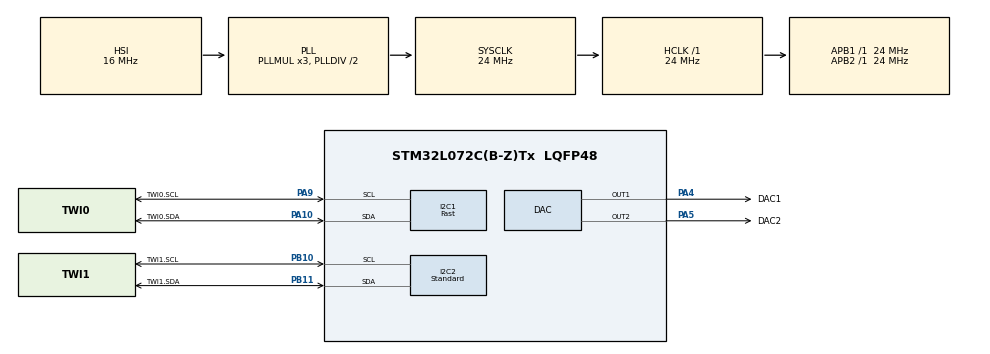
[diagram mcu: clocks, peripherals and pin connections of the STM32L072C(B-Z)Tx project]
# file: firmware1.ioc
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I2C1.I2C_Speed_Mode=I2C_Fast
I2C1.Timing=0x00300617
I2C2.I2C_Speed_Mode=I2C_Standard
I2C2.OwnAddress=0x12
I2C2.Timing=0x00805C87
Mcu.Family=STM32L0
Mcu.Name=STM32L072C(B-Z)Tx
Mcu.Package=LQFP48
NVIC.I2C1_IRQn=true\:0\:0\:false\:false\:true\:true\:true\:true
NVIC.I2C2_IRQn=true\:0\:0\:false\:false\:true\:true\:true\:true
NVIC.TIM2_IRQn=true\:0\:0\:false\:false\:true\:true\:true\:true
PA10.GPIO_Label=TWI0.SDA
PA10.Mode=I2C
PA10.Signal=I2C1_SDA
PA4.GPIO_Label=DAC1
PA4.Signal=COMP_DAC1_group
PA5.GPIO_Label=DAC2
PA5.Signal=COMP_DAC2_group
PA9.GPIO_Label=TWI0.SCL
PA9.Mode=I2C
PA9.Signal=I2C1_SCL
PB10.GPIO_Label=TWI1.SCL
PB10.Mode=I2C
PB10.Signal=I2C2_SCL
PB11.GPIO_Label=TWI1.SDA
PB11.Mode=I2C
PB11.Signal=I2C2_SDA
PH0-OSC_IN.Mode=HSE-External-Oscillator
PH0-OSC_IN.Signal=RCC_OSC_IN
PH1-OSC_OUT.Mode=HSE-External-Oscillator
PH1-OSC_OUT.Signal=RCC_OSC_OUT
ProjectManager.HeapSize=0x200
ProjectManager.StackSize=0x400
ProjectManager.TargetToolchain=STM32CubeIDE
RCC.AHBFreq_Value=24000000
RCC.APB1Freq_Value=24000000
RCC.APB1TimFreq_Value=24000000
RCC.APB2Freq_Value=24000000
RCC.APB2TimFreq_Value=24000000
RCC.HCLKFreq_Value=24000000
RCC.HSE_VALUE=8000000
RCC.HSI16_VALUE=16000000
RCC.HSI48_VALUE=48000000
RCC.HSI_VALUE=16000000
RCC.I2c1ClockSelection=RCC_I2C1CLKSOURCE_HSI
RCC.LSE_VALUE=32768
RCC.MSI_VALUE=2097000
RCC.SYSCLKFreq_VALUE=24000000
RCC.SYSCLKSource=RCC_SYSCLKSOURCE_PLLCLK
RCC.VCOOutputFreq_Value=48000000
SH.COMP_DAC1_group.0=DAC_OUT1,DAC_OUT1
SH.COMP_DAC2_group.0=DAC_OUT2,DAC_OUT2
TIM2.AutoReloadPreload=TIM_AUTORELOAD_PRELOAD_ENABLE
TIM2.Period=1
TIM2.Prescaler=23999
VP_TIM2_VS_ClockSourceINT.Mode=Internal
board=custom

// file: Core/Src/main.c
/* USER CODE BEGIN Header */
/**
  ******************************************************************************
  * @file           : main.c
  * @brief          : Main program body
  ******************************************************************************
  * @attention
  *
  * Copyright (c) 2025 STMicroelectronics.
  * All rights reserved.
  *
  * This software is licensed under terms that can be found in the LICENSE file
  * in the root directory of this software component.
  * If no LICENSE file comes with this software, it is provided AS-IS.
  *
  ******************************************************************************
  */
/* USER CODE END Header */
#include "main.h"

/* USER CODE BEGIN Includes */
#include <stdbool.h>
#include "ms5837_hal.h"
#include "i2c_slave_app.h"

#include "dac_ctrl.h"
//#include "ms5837.h"
#include "board.h"
#include "dac_calib.h"

#include <stdint.h>
/* USER CODE END Includes */

/* USER CODE BEGIN PD */
//MS5837-02BA (0–2 bar ≈ 200 kPa)
#define PRESSURE_MIN_KPA   0.0f
#define PRESSURE_MAX_KPA   200.0f
/* USER CODE END PD */

DAC_HandleTypeDef hdac;

I2C_HandleTypeDef hi2c1;
I2C_HandleTypeDef hi2c2;

TIM_HandleTypeDef htim2;

void SystemClock_Config(void);
static void MX_GPIO_Init(void);
static void MX_DAC_Init(void);
static void MX_I2C1_Init(void);
static void MX_I2C2_Init(void);
static void MX_TIM2_Init(void);

/* USER CODE BEGIN 0 */
ms583730ba01_h ref;
int32_t pressure, temperature;

uint16_t ms_calib[8];  // Setup
dac_calib_t dac1_calib; // for DAC1 (pressure mapping)
dac_calib_t dac2_calib; // for DAC2 (I2C-controlled output)

volatile bool pressure_sample_requested = false;
volatile bool pressure_read_in_progress = false;
volatile bool pressure_new_sample_ready = false;

// OSR (over‐sampling ratio) command codes
const int osr_d1 = 512;       // pressure conversion OSR - choose 256/512/1024/2048/4096
const int osr_d2 = 512;       // temperature conversion OSR
const uint16_t delay_d1 = 2;  // milliseconds for OSR 512 (conservative)
const uint16_t delay_d2 = 2;

static void sensor_init_once(void)
{
    ms5837_hal_handle_init(&ref);

    if (ms5837_reset(&ref) != E_MS58370BA01_SUCCESS) {
        Error_Handler();
    }

    if (ms5837_read_prom(&ref, ms_calib) != E_MS58370BA01_SUCCESS) {
        Error_Handler();
    }
}

static bool sensor_do_blocking_read(void)
{
    pressure_read_in_progress = true;
    bool ok = false;
    if (ms5837_read_temperature_and_pressure(&ref, ms_calib, &pressure, &temperature,
                                            osr_d1, osr_d2, delay_d1, delay_d2) == E_MS58370BA01_SUCCESS) {
        ok = true;
    }
    pressure_read_in_progress = false;
    return ok;
}

static float pressure_to_kpa(int32_t p_pa) {
    return ((float)p_pa) / 1000.0f;
}
static float apply_calib_and_clip(const dac_calib_t *c, float volts) {
    float cmd = dac_calib_apply(c, volts);
    if (cmd < 0.0f) cmd = 0.0f;
    if (cmd > BOARD_VREF_V) cmd = BOARD_VREF_V;
    return cmd;
}

void HAL_TIM_PeriodElapsedCallback(TIM_HandleTypeDef *htim)
{
    if (htim == &htim2) {
        pressure_sample_requested = true;
    }
}

/* USER CODE END 0 */

int main(void)
{

  /* MCU Configuration--------------------------------------------------------*/

  /* Reset of all peripherals, Initializes the Flash interface and the Systick. */
  HAL_Init();

  /* Configure the system clock */
  SystemClock_Config();

  /* USER CODE BEGIN SysInit */
  sensor_init_once();
  /* USER CODE END SysInit */

  /* Initialize all configured peripherals */
  MX_GPIO_Init();
  MX_DAC_Init();
  MX_I2C1_Init();
  MX_I2C2_Init();
  MX_TIM2_Init();
  /* USER CODE BEGIN 2 */
  // start TIM2 with interrupt
  HAL_TIM_Base_Start_IT(&htim2);

  if (HAL_I2C_EnableListen_IT(&hi2c2) != HAL_OK) {
      Error_Handler();
  }

  // DAC
  if (dac_init() != DAC_CTRL_OK) Error_Handler();
  dac_calib_init(&dac1_calib);
  dac_calib_init(&dac2_calib);

  /* USER CODE END 2 */

  /* Infinite loop */
  /* USER CODE BEGIN WHILE */
  while (1)
  {
	  if (pressure_sample_requested && !pressure_read_in_progress) {
		  pressure_sample_requested = false;
		  if (sensor_do_blocking_read()) {
			  float p_kpa = pressure_to_kpa(pressure);
			  float mapped_volts = ( (p_kpa - PRESSURE_MIN_KPA) / (PRESSURE_MAX_KPA - PRESSURE_MIN_KPA) ) * BOARD_VREF_V;
			  if (mapped_volts < 0.0f) mapped_volts = 0.0f;
			  if (mapped_volts > BOARD_VREF_V) mapped_volts = BOARD_VREF_V;

			  float cmd_volts = apply_calib_and_clip(&dac1_calib, mapped_volts);
			  dac_set_voltage_ch1(cmd_volts);

			  response_value = (uint32_t)pressure;
		  }
	  }

	  if (i2c2_rx_complete) {
//		  __disable_irq();
		  //Here only disable I2C2 event interrupt
		  NVIC_DisableIRQ(I2C2_IRQn);
		  uint32_t v = received_cmd_value;
		  i2c2_rx_complete = false;
//		  __enable_irq();
		  NVIC_EnableIRQ(I2C2_IRQn);

		  float req_volts = ((float)v) / 1000.0f;
		  float cmd_volts = apply_calib_and_clip(&dac2_calib, req_volts);
		  dac_set_voltage_ch2(cmd_volts);
	  }

	  HAL_Delay(1);

    /* USER CODE END WHILE */

    /* USER CODE BEGIN 3 */
//	  Hi
  }
  /* USER CODE END 3 */
}

void SystemClock_Config(void)
{
  RCC_OscInitTypeDef RCC_OscInitStruct = {0};
  RCC_ClkInitTypeDef RCC_ClkInitStruct = {0};
  RCC_PeriphCLKInitTypeDef PeriphClkInit = {0};

  /** Configure the main internal regulator output voltage
  */
  __HAL_PWR_VOLTAGESCALING_CONFIG(PWR_REGULATOR_VOLTAGE_SCALE1);

  /** Initializes the RCC Oscillators according to the specified parameters
  * in the RCC_OscInitTypeDef structure.
  */
  RCC_OscInitStruct.OscillatorType = RCC_OSCILLATORTYPE_HSI;
  RCC_OscInitStruct.HSIState = RCC_HSI_ON;
  RCC_OscInitStruct.HSICalibrationValue = RCC_HSICALIBRATION_DEFAULT;
  RCC_OscInitStruct.PLL.PLLState = RCC_PLL_ON;
  RCC_OscInitStruct.PLL.PLLSource = RCC_PLLSOURCE_HSI;
  RCC_OscInitStruct.PLL.PLLMUL = RCC_PLLMUL_3;
  RCC_OscInitStruct.PLL.PLLDIV = RCC_PLLDIV_2;
  if (HAL_RCC_OscConfig(&RCC_OscInitStruct) != HAL_OK)
  {
    Error_Handler();
  }

  /** Initializes the CPU, AHB and APB buses clocks
  */
  RCC_ClkInitStruct.ClockType = RCC_CLOCKTYPE_HCLK|RCC_CLOCKTYPE_SYSCLK
                              |RCC_CLOCKTYPE_PCLK1|RCC_CLOCKTYPE_PCLK2;
  RCC_ClkInitStruct.SYSCLKSource = RCC_SYSCLKSOURCE_PLLCLK;
  RCC_ClkInitStruct.AHBCLKDivider = RCC_SYSCLK_DIV1;
  RCC_ClkInitStruct.APB1CLKDivider = RCC_HCLK_DIV1;
  RCC_ClkInitStruct.APB2CLKDivider = RCC_HCLK_DIV1;

  if (HAL_RCC_ClockConfig(&RCC_ClkInitStruct, FLASH_LATENCY_1) != HAL_OK)
  {
    Error_Handler();
  }
  PeriphClkInit.PeriphClockSelection = RCC_PERIPHCLK_I2C1;
  PeriphClkInit.I2c1ClockSelection = RCC_I2C1CLKSOURCE_HSI;
  if (HAL_RCCEx_PeriphCLKConfig(&PeriphClkInit) != HAL_OK)
  {
    Error_Handler();
  }
}

static void MX_DAC_Init(void)
{

  DAC_ChannelConfTypeDef sConfig = {0};

  /** DAC Initialization
  */
  hdac.Instance = DAC;
  if (HAL_DAC_Init(&hdac) != HAL_OK)
  {
    Error_Handler();
  }

  /** DAC channel OUT1 config
  */
  sConfig.DAC_Trigger = DAC_TRIGGER_NONE;
  sConfig.DAC_OutputBuffer = DAC_OUTPUTBUFFER_ENABLE;
  if (HAL_DAC_ConfigChannel(&hdac, &sConfig, DAC_CHANNEL_1) != HAL_OK)
  {
    Error_Handler();
  }

  /** DAC channel OUT2 config
  */
  if (HAL_DAC_ConfigChannel(&hdac, &sConfig, DAC_CHANNEL_2) != HAL_OK)
  {
    Error_Handler();
  }

}

static void MX_I2C1_Init(void)
{

  hi2c1.Instance = I2C1;
  hi2c1.Init.Timing = 0x00300617;
  hi2c1.Init.OwnAddress1 = 0;
  hi2c1.Init.AddressingMode = I2C_ADDRESSINGMODE_7BIT;
  hi2c1.Init.DualAddressMode = I2C_DUALADDRESS_DISABLE;
  hi2c1.Init.OwnAddress2 = 0;
  hi2c1.Init.OwnAddress2Masks = I2C_OA2_NOMASK;
  hi2c1.Init.GeneralCallMode = I2C_GENERALCALL_DISABLE;
  hi2c1.Init.NoStretchMode = I2C_NOSTRETCH_DISABLE;
  if (HAL_I2C_Init(&hi2c1) != HAL_OK)
  {
    Error_Handler();
  }

  /** Configure Analogue filter
  */
  if (HAL_I2CEx_ConfigAnalogFilter(&hi2c1, I2C_ANALOGFILTER_ENABLE) != HAL_OK)
  {
    Error_Handler();
  }

  /** Configure Digital filter
  */
  if (HAL_I2CEx_ConfigDigitalFilter(&hi2c1, 0) != HAL_OK)
  {
    Error_Handler();
  }

}

static void MX_I2C2_Init(void)
{

  hi2c2.Instance = I2C2;
  hi2c2.Init.Timing = 0x00805C87;
  hi2c2.Init.OwnAddress1 = 36;
  hi2c2.Init.AddressingMode = I2C_ADDRESSINGMODE_7BIT;
  hi2c2.Init.DualAddressMode = I2C_DUALADDRESS_DISABLE;
  hi2c2.Init.OwnAddress2 = 0;
  hi2c2.Init.OwnAddress2Masks = I2C_OA2_NOMASK;
  hi2c2.Init.GeneralCallMode = I2C_GENERALCALL_DISABLE;
  hi2c2.Init.NoStretchMode = I2C_NOSTRETCH_DISABLE;
  if (HAL_I2C_Init(&hi2c2) != HAL_OK)
  {
    Error_Handler();
  }

  /** Configure Analogue filter
  */
  if (HAL_I2CEx_ConfigAnalogFilter(&hi2c2, I2C_ANALOGFILTER_ENABLE) != HAL_OK)
  {
    Error_Handler();
  }

  /** Configure Digital filter
  */
  if (HAL_I2CEx_ConfigDigitalFilter(&hi2c2, 0) != HAL_OK)
  {
    Error_Handler();
  }

}

static void MX_TIM2_Init(void)
{

  TIM_ClockConfigTypeDef sClockSourceConfig = {0};
  TIM_MasterConfigTypeDef sMasterConfig = {0};

  htim2.Instance = TIM2;
  htim2.Init.Prescaler = 23999;
  htim2.Init.CounterMode = TIM_COUNTERMODE_UP;
  htim2.Init.Period = 1;
  htim2.Init.ClockDivision = TIM_CLOCKDIVISION_DIV1;
  htim2.Init.AutoReloadPreload = TIM_AUTORELOAD_PRELOAD_ENABLE;
  if (HAL_TIM_Base_Init(&htim2) != HAL_OK)
  {
    Error_Handler();
  }
  sClockSourceConfig.ClockSource = TIM_CLOCKSOURCE_INTERNAL;
  if (HAL_TIM_ConfigClockSource(&htim2, &sClockSourceConfig) != HAL_OK)
  {
    Error_Handler();
  }
  sMasterConfig.MasterOutputTrigger = TIM_TRGO_RESET;
  sMasterConfig.MasterSlaveMode = TIM_MASTERSLAVEMODE_DISABLE;
  if (HAL_TIMEx_MasterConfigSynchronization(&htim2, &sMasterConfig) != HAL_OK)
  {
    Error_Handler();
  }

}

static void MX_GPIO_Init(void)
{

  /* GPIO Ports Clock Enable */
  __HAL_RCC_GPIOH_CLK_ENABLE();
  __HAL_RCC_GPIOA_CLK_ENABLE();
  __HAL_RCC_GPIOB_CLK_ENABLE();

}

void Error_Handler(void)
{
  __disable_irq();
  while (1)
  {
  }
}
